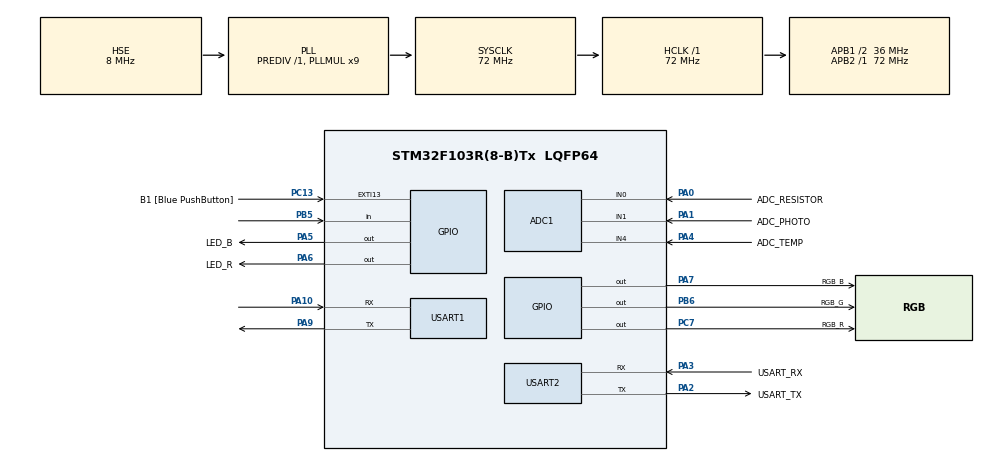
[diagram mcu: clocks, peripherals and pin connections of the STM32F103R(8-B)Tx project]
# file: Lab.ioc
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ADC1.Channel-1\#ChannelRegularConversion=ADC_CHANNEL_0
ADC1.Channel-2\#ChannelRegularConversion=ADC_CHANNEL_1
ADC1.Channel-3\#ChannelRegularConversion=ADC_CHANNEL_4
ADC1.ContinuousConvMode=DISABLE
ADC1.DataAlign=ADC_DATAALIGN_RIGHT
ADC1.NbrOfConversion=3
ADC1.NbrOfConversionFlag=1
ADC1.Rank-1\#ChannelRegularConversion=1
ADC1.Rank-2\#ChannelRegularConversion=2
ADC1.Rank-3\#ChannelRegularConversion=3
ADC1.SamplingTime-1\#ChannelRegularConversion=ADC_SAMPLETIME_1CYCLE_5
ADC1.SamplingTime-2\#ChannelRegularConversion=ADC_SAMPLETIME_1CYCLE_5
ADC1.SamplingTime-3\#ChannelRegularConversion=ADC_SAMPLETIME_1CYCLE_5
ADC1.master=1
Dma.ADC1.0.Direction=DMA_PERIPH_TO_MEMORY
Dma.ADC1.0.Instance=DMA1_Channel1
Dma.ADC1.0.MemDataAlignment=DMA_MDATAALIGN_HALFWORD
Dma.ADC1.0.MemInc=DMA_MINC_ENABLE
Dma.ADC1.0.Mode=DMA_NORMAL
Dma.ADC1.0.PeriphDataAlignment=DMA_PDATAALIGN_HALFWORD
Dma.ADC1.0.PeriphInc=DMA_PINC_DISABLE
Dma.ADC1.0.Priority=DMA_PRIORITY_LOW
Dma.Request0=ADC1
Mcu.Family=STM32F1
Mcu.Name=STM32F103R(8-B)Tx
Mcu.Package=LQFP64
NVIC.DMA1_Channel1_IRQn=true\:0\:0\:false\:false\:true\:false\:true\:true
NVIC.EXTI15_10_IRQn=true\:0\:0\:false\:false\:true\:true\:true\:true
NVIC.PriorityGroup=NVIC_PRIORITYGROUP_4
NVIC.USART2_IRQn=true\:0\:0\:false\:false\:true\:true\:true\:true
PA0-WKUP.GPIO_Label=ADC_RESISTOR
PA0-WKUP.Signal=ADCx_IN0
PA1.GPIO_Label=ADC_PHOTO
PA1.Signal=ADCx_IN1
PA10.Mode=Asynchronous
PA10.Signal=USART1_RX
PA13.GPIO_Label=TMS
PA13.Mode=Serial_Wire
PA13.Signal=SYS_JTMS-SWDIO
PA14.GPIO_Label=TCK
PA14.Mode=Serial_Wire
PA14.Signal=SYS_JTCK-SWCLK
PA2.GPIO_Label=USART_TX
PA2.GPIO_Mode=GPIO_MODE_AF_PP
PA2.GPIO_PuPd=GPIO_NOPULL
PA2.GPIO_Speed=GPIO_SPEED_FREQ_LOW
PA2.Mode=Asynchronous
PA2.Signal=USART2_TX
PA3.GPIO_Label=USART_RX
PA3.GPIO_Mode=GPIO_MODE_AF_PP
PA3.GPIO_PuPd=GPIO_NOPULL
PA3.GPIO_Speed=GPIO_SPEED_FREQ_LOW
PA3.Mode=Asynchronous
PA3.Signal=USART2_RX
PA4.GPIO_Label=ADC_TEMP
PA4.Signal=ADCx_IN4
PA5.GPIO_Label=LED_B
PA5.GPIO_ModeDefaultOutputPP=GPIO_MODE_OUTPUT_PP
PA5.GPIO_PuPd=GPIO_NOPULL
PA5.GPIO_Speed=GPIO_SPEED_FREQ_LOW
PA5.Signal=GPIO_Output
PA6.GPIO_Label=LED_R
PA6.Signal=GPIO_Output
PA7.GPIO_Label=RGB_B
PA7.Signal=GPIO_Output
PA9.Mode=Asynchronous
PA9.Signal=USART1_TX
PB3.GPIO_Label=SWO
PB3.Signal=SYS_JTDO-TRACESWO
PB5.Signal=GPIO_Input
PB6.GPIO_Label=RGB_G
PB6.Signal=GPIO_Output
PC13-TAMPER-RTC.GPIO_Label=B1 [Blue PushButton]
PC13-TAMPER-RTC.GPIO_PuPd=GPIO_NOPULL
PC13-TAMPER-RTC.Signal=GPXTI13
PC14-OSC32_IN.Mode=LSE-External-Oscillator
PC14-OSC32_IN.Signal=RCC_OSC32_IN
PC15-OSC32_OUT.Mode=LSE-External-Oscillator
PC15-OSC32_OUT.Signal=RCC_OSC32_OUT
PC7.GPIO_Label=RGB_R
PC7.Signal=GPIO_Output
PD0-OSC_IN.Mode=HSE-External-Clock-Source
PD0-OSC_IN.Signal=RCC_OSC_IN
PD1-OSC_OUT.Mode=HSE-External-Clock-Source
PD1-OSC_OUT.Signal=RCC_OSC_OUT
ProjectManager.HeapSize=0x200
ProjectManager.StackSize=0x400
ProjectManager.TargetToolchain=MDK-ARM V5.32
RCC.ADCPresc=RCC_ADCPCLK2_DIV6
RCC.AHBFreq_Value=72000000
RCC.APB1CLKDivider=RCC_HCLK_DIV2
RCC.APB1Freq_Value=36000000
RCC.APB1TimFreq_Value=72000000
RCC.APB2Freq_Value=72000000
RCC.APB2TimFreq_Value=72000000
RCC.HCLKFreq_Value=72000000
RCC.PLLMUL=RCC_PLL_MUL9
RCC.PLLSourceVirtual=RCC_PLLSOURCE_HSE
RCC.RTCClockSelection=RCC_RTCCLKSOURCE_LSE
RCC.SYSCLKFreq_VALUE=72000000
RCC.SYSCLKSource=RCC_SYSCLKSOURCE_PLLCLK
RCC.USBFreq_Value=72000000
SH.ADCx_IN0.0=ADC1_IN0,IN0
SH.ADCx_IN1.0=ADC1_IN1,IN1
SH.ADCx_IN4.0=ADC1_IN4,IN4
USART1.VirtualMode=VM_ASYNC
USART2.VirtualMode=VM_ASYNC
board=NUCLEO-F103RB

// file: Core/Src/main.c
/* USER CODE BEGIN Header */
/**
  ******************************************************************************
  * @file           : main.c
  * @brief          : Main program body
  ******************************************************************************
  * @attention
  *
  * Copyright (c) 2022 STMicroelectronics.
  * All rights reserved.
  *
  * This software is licensed under terms that can be found in the LICENSE file
  * in the root directory of this software component.
  * If no LICENSE file comes with this software, it is provided AS-IS.
  *
  ******************************************************************************
  */
/* USER CODE END Header */
#include "main.h"

/* USER CODE BEGIN Includes */
#include "string.h"
#include <stdio.h>

/* DHT11 Code Start */
#define DHT_TIMEOUT 				10000
#define DHT_POLLING_CONTROL			1
#define DHT_POLLING_INTERVAL_DHT11	2000
#define DHT_POLLING_INTERVAL_DHT22	1000
#define DHT_IRQ_CONTROL

typedef struct {
	float hum;
	float temp;
} DHT_data;

typedef enum {
	DHT11,
	DHT22
} DHT_type;

typedef struct {
	GPIO_TypeDef *DHT_Port;
	uint16_t DHTPin;
	DHT_type type;
	uint8_t pullUp;

	#if DHT_POLLING_CONTROL == 1
	uint32_t lastPollingTime;
	float lastTemp;
	float lastHum;
	#endif
} DHT_sensor;

DHT_data DHT_getData(DHT_sensor *sensor);

#define lineDown() 		HAL_GPIO_WritePin(sensor->DHT_Port, sensor->DHTPin, GPIO_PIN_RESET)
#define lineUp()		HAL_GPIO_WritePin(sensor->DHT_Port, sensor->DHTPin, GPIO_PIN_SET)
#define getLine()		(HAL_GPIO_ReadPin(sensor->DHT_Port, sensor->DHTPin) == GPIO_PIN_SET)
#define Delay(d)		HAL_Delay(d)

static void goToOutput(DHT_sensor *sensor) {
	GPIO_InitTypeDef GPIO_InitStruct = {0};

  lineUp();

  GPIO_InitStruct.Pin = sensor->DHTPin;
  GPIO_InitStruct.Mode = GPIO_MODE_OUTPUT_OD;
  GPIO_InitStruct.Pull = sensor->pullUp;

  GPIO_InitStruct.Speed = GPIO_SPEED_FREQ_HIGH;
  HAL_GPIO_Init(sensor->DHT_Port, &GPIO_InitStruct);
}

static void goToInput(DHT_sensor *sensor) {
  GPIO_InitTypeDef GPIO_InitStruct = {0};

  GPIO_InitStruct.Pin = sensor->DHTPin;
  GPIO_InitStruct.Mode = GPIO_MODE_INPUT;
  GPIO_InitStruct.Pull = sensor->pullUp;
  HAL_GPIO_Init(sensor->DHT_Port, &GPIO_InitStruct);
}

DHT_data DHT_getData(DHT_sensor *sensor) {
	DHT_data data = {-128.0f, -128.0f};

	#if DHT_POLLING_CONTROL == 1
	uint16_t pollingInterval;
	if (sensor->type == DHT11) {
		pollingInterval = DHT_POLLING_INTERVAL_DHT11;
	} else {
		pollingInterval = DHT_POLLING_INTERVAL_DHT22;
	}

	if ((HAL_GetTick() - sensor->lastPollingTime < pollingInterval) && sensor->lastPollingTime != 0) {
		data.hum = sensor->lastHum;
		data.temp = sensor->lastTemp;
		return data;
	}
	sensor->lastPollingTime = HAL_GetTick()+1;
	#endif

	goToOutput(sensor);
	lineDown();
	Delay(18);
	lineUp();
	goToInput(sensor);

	#ifdef DHT_IRQ_CONTROL
	__disable_irq();
	#endif
	uint16_t timeout = 0;
	while(getLine()) {
		timeout++;
		if (timeout > DHT_TIMEOUT) {
			#ifdef DHT_IRQ_CONTROL
			__enable_irq();
			#endif
			sensor->lastHum = -128.0f;
			sensor->lastTemp = -128.0f;

			return data;
		}
	}
	timeout = 0;
	while(!getLine()) {
		timeout++;
		if (timeout > DHT_TIMEOUT) {
			#ifdef DHT_IRQ_CONTROL
			__enable_irq();
			#endif
			sensor->lastHum = -128.0f;
			sensor->lastTemp = -128.0f;

			return data;
		}
	}
	timeout = 0;
	while(getLine()) {
		timeout++;
		if (timeout > DHT_TIMEOUT) {
			#ifdef DHT_IRQ_CONTROL
			__enable_irq();
			#endif
			return data;
		}
	}

	uint8_t rawData[5] = {0,0,0,0,0};
	for(uint8_t a = 0; a < 5; a++) {
		for(uint8_t b = 7; b != 255; b--) {
			uint16_t hT = 0, lT = 0;
			while(!getLine() && lT != 65535) lT++;
			timeout = 0;
			while(getLine()&& hT != 65535) hT++;
			if(hT > lT) rawData[a] |= (1<<b);
		}
	}

    #ifdef DHT_IRQ_CONTROL
	__enable_irq();
    #endif

	if((uint8_t)(rawData[0] + rawData[1] + rawData[2] + rawData[3]) == rawData[4]) {
		if (sensor->type == DHT22) {
			data.hum = (float)(((uint16_t)rawData[0]<<8) | rawData[1])*0.1f;
			if(!(rawData[2] & (1<<7))) {
				data.temp = (float)(((uint16_t)rawData[2]<<8) | rawData[3])*0.1f;
			}	else {
				rawData[2] &= ~(1<<7);
				data.temp = (float)(((uint16_t)rawData[2]<<8) | rawData[3])*-0.1f;
			}
		}
		if (sensor->type == DHT11) {
			data.hum = (float)rawData[0];
			data.temp = (float)rawData[2];
		}
	}

	#if DHT_POLLING_CONTROL == 1
	sensor->lastHum = data.hum;
	sensor->lastTemp = data.temp;
	#endif

	return data;
}

/* DHT11 Code End */

/* USER CODE END Includes */

ADC_HandleTypeDef hadc1;
DMA_HandleTypeDef hdma_adc1;

UART_HandleTypeDef huart1;
UART_HandleTypeDef huart2;

/* USER CODE BEGIN PV */
char trans_str[64] = {0,};
volatile uint16_t adc[3] = {0,};
DHT_sensor dht_sensor = {GPIOB, GPIO_PIN_5, DHT11, GPIO_NOPULL};
char msg[30] = {0,};
uint8_t input_buffer[18] = {0,};
char command[16];
/* USER CODE END PV */

void SystemClock_Config(void);
static void MX_GPIO_Init(void);
static void MX_DMA_Init(void);
static void MX_USART2_UART_Init(void);
static void MX_ADC1_Init(void);
static void MX_USART1_UART_Init(void);

/* USER CODE BEGIN 0 */
void HAL_ADC_ConvCpltCallback(ADC_HandleTypeDef* hadc)
{
    if(hadc->Instance == ADC1)
    {
        HAL_ADC_Stop_DMA(&hadc1);
				//R L T T1 H
				snprintf(trans_str, 63, "D:%4d:%4d:%4d%s:D\n\r", (uint16_t)adc[0], (uint16_t)adc[1], (uint16_t)adc[2], msg);
        HAL_UART_Transmit_IT(&huart2, (uint8_t*)trans_str, strlen(trans_str));
        adc[0] = 0;
        adc[1] = 0;
				adc[2] = 0;
        HAL_ADC_Start_DMA(&hadc1, (uint32_t*)&adc, 3);
    }
}

void HAL_UART_RxCpltCallback(UART_HandleTypeDef *huart)
{
	if(huart == &huart2)
  {
		if (input_buffer[0] == '\n')
		{
			if (strcmp(command, "LED_R_ON") == 0)
			{
				HAL_GPIO_WritePin(LED_R_GPIO_Port, LED_R_Pin, GPIO_PIN_SET);
			}
			else if (strcmp(command, "LED_R_OFF") == 0)
			{
				HAL_GPIO_WritePin(LED_R_GPIO_Port, LED_R_Pin, GPIO_PIN_RESET);
			}
			else if (strcmp(command, "LED_B_ON") == 0)
			{
				HAL_GPIO_WritePin(LED_B_GPIO_Port, LED_B_Pin, GPIO_PIN_SET);
			}
			else if (strcmp(command, "LED_B_OFF") == 0)
			{
				HAL_GPIO_WritePin(LED_B_GPIO_Port, LED_B_Pin, GPIO_PIN_RESET);
			}
			else if (strcmp(command, "RGB_R_ON") == 0)
			{
				HAL_GPIO_WritePin(RGB_R_GPIO_Port, RGB_R_Pin, GPIO_PIN_SET);
			}
			else if (strcmp(command, "RGB_R_OFF") == 0)
			{
				HAL_GPIO_WritePin(RGB_R_GPIO_Port, RGB_R_Pin, GPIO_PIN_RESET);
			}
			else if (strcmp(command, "RGB_G_ON") == 0)
			{
				HAL_GPIO_WritePin(RGB_G_GPIO_Port, RGB_G_Pin, GPIO_PIN_SET);
			}
			else if (strcmp(command, "RGB_G_OFF") == 0)
			{
				HAL_GPIO_WritePin(RGB_G_GPIO_Port, RGB_G_Pin, GPIO_PIN_RESET);
			}
			else if (strcmp(command, "RGB_B_ON") == 0)
			{
				HAL_GPIO_WritePin(RGB_B_GPIO_Port, RGB_B_Pin, GPIO_PIN_SET);
			}
			else if (strcmp(command, "RGB_B_OFF") == 0)
			{
				HAL_GPIO_WritePin(RGB_B_GPIO_Port, RGB_B_Pin, GPIO_PIN_RESET);
			}
			memset(command, 0, sizeof(command));
		}
		else
		{
			strncat(command, (char *)input_buffer, 1);
		}

		if (strlen(command) > 10) {
			memset(command, 0, sizeof(command));
		}

		HAL_UART_Receive_IT(&huart2, (uint8_t*)input_buffer, 1);
  }
}
/* USER CODE END 0 */

int main(void)
{

  /* MCU Configuration--------------------------------------------------------*/

  /* Reset of all peripherals, Initializes the Flash interface and the Systick. */
  HAL_Init();

  /* Configure the system clock */
  SystemClock_Config();

  /* Initialize all configured peripherals */
  MX_GPIO_Init();
  MX_DMA_Init();
  MX_USART2_UART_Init();
  MX_ADC1_Init();
  MX_USART1_UART_Init();
  /* USER CODE BEGIN 2 */
	HAL_GPIO_WritePin(RGB_R_GPIO_Port, RGB_R_Pin, GPIO_PIN_RESET);
	HAL_GPIO_WritePin(RGB_G_GPIO_Port, RGB_G_Pin, GPIO_PIN_RESET);
	HAL_GPIO_WritePin(RGB_B_GPIO_Port, RGB_B_Pin, GPIO_PIN_RESET);
	HAL_GPIO_WritePin(LED_R_GPIO_Port, LED_R_Pin, GPIO_PIN_RESET);
	HAL_GPIO_WritePin(LED_B_GPIO_Port, LED_B_Pin, GPIO_PIN_RESET);
	HAL_ADCEx_Calibration_Start(&hadc1);
	HAL_ADC_Start_DMA(&hadc1, (uint32_t*)&adc, 2);
	HAL_UART_Receive_IT(&huart2, (uint8_t*)input_buffer, 1);
  /* USER CODE END 2 */

  /* Infinite loop */
  while (1)
  {
		HAL_ADC_Stop_DMA(&hadc1);
		DHT_data d = DHT_getData(&dht_sensor);
    sprintf(msg, ":%3d:%3d", (uint8_t)d.temp, (uint8_t)d.hum);
		HAL_ADC_Start_DMA(&hadc1, (uint32_t*)&adc, 3);
		HAL_Delay(5);
  }
}

void SystemClock_Config(void)
{
  RCC_OscInitTypeDef RCC_OscInitStruct = {0};
  RCC_ClkInitTypeDef RCC_ClkInitStruct = {0};
  RCC_PeriphCLKInitTypeDef PeriphClkInit = {0};

  /** Initializes the RCC Oscillators according to the specified parameters
  * in the RCC_OscInitTypeDef structure.
  */
  RCC_OscInitStruct.OscillatorType = RCC_OSCILLATORTYPE_HSE;
  RCC_OscInitStruct.HSEState = RCC_HSE_BYPASS;
  RCC_OscInitStruct.HSEPredivValue = RCC_HSE_PREDIV_DIV1;
  RCC_OscInitStruct.HSIState = RCC_HSI_ON;
  RCC_OscInitStruct.PLL.PLLState = RCC_PLL_ON;
  RCC_OscInitStruct.PLL.PLLSource = RCC_PLLSOURCE_HSE;
  RCC_OscInitStruct.PLL.PLLMUL = RCC_PLL_MUL9;
  if (HAL_RCC_OscConfig(&RCC_OscInitStruct) != HAL_OK)
  {
    Error_Handler();
  }

  /** Initializes the CPU, AHB and APB buses clocks
  */
  RCC_ClkInitStruct.ClockType = RCC_CLOCKTYPE_HCLK|RCC_CLOCKTYPE_SYSCLK
                              |RCC_CLOCKTYPE_PCLK1|RCC_CLOCKTYPE_PCLK2;
  RCC_ClkInitStruct.SYSCLKSource = RCC_SYSCLKSOURCE_PLLCLK;
  RCC_ClkInitStruct.AHBCLKDivider = RCC_SYSCLK_DIV1;
  RCC_ClkInitStruct.APB1CLKDivider = RCC_HCLK_DIV2;
  RCC_ClkInitStruct.APB2CLKDivider = RCC_HCLK_DIV1;

  if (HAL_RCC_ClockConfig(&RCC_ClkInitStruct, FLASH_LATENCY_2) != HAL_OK)
  {
    Error_Handler();
  }
  PeriphClkInit.PeriphClockSelection = RCC_PERIPHCLK_ADC;
  PeriphClkInit.AdcClockSelection = RCC_ADCPCLK2_DIV6;
  if (HAL_RCCEx_PeriphCLKConfig(&PeriphClkInit) != HAL_OK)
  {
    Error_Handler();
  }
}

static void MX_ADC1_Init(void)
{

  ADC_ChannelConfTypeDef sConfig = {0};

  /** Common config
  */
  hadc1.Instance = ADC1;
  hadc1.Init.ScanConvMode = ADC_SCAN_ENABLE;
  hadc1.Init.ContinuousConvMode = DISABLE;
  hadc1.Init.DiscontinuousConvMode = DISABLE;
  hadc1.Init.ExternalTrigConv = ADC_SOFTWARE_START;
  hadc1.Init.DataAlign = ADC_DATAALIGN_RIGHT;
  hadc1.Init.NbrOfConversion = 3;
  if (HAL_ADC_Init(&hadc1) != HAL_OK)
  {
    Error_Handler();
  }

  /** Configure Regular Channel
  */
  sConfig.Channel = ADC_CHANNEL_0;
  sConfig.Rank = ADC_REGULAR_RANK_1;
  sConfig.SamplingTime = ADC_SAMPLETIME_1CYCLE_5;
  if (HAL_ADC_ConfigChannel(&hadc1, &sConfig) != HAL_OK)
  {
    Error_Handler();
  }

  /** Configure Regular Channel
  */
  sConfig.Channel = ADC_CHANNEL_1;
  sConfig.Rank = ADC_REGULAR_RANK_2;
  if (HAL_ADC_ConfigChannel(&hadc1, &sConfig) != HAL_OK)
  {
    Error_Handler();
  }

  /** Configure Regular Channel
  */
  sConfig.Channel = ADC_CHANNEL_4;
  sConfig.Rank = ADC_REGULAR_RANK_3;
  if (HAL_ADC_ConfigChannel(&hadc1, &sConfig) != HAL_OK)
  {
    Error_Handler();
  }

}

static void MX_USART1_UART_Init(void)
{

  huart1.Instance = USART1;
  huart1.Init.BaudRate = 115200;
  huart1.Init.WordLength = UART_WORDLENGTH_8B;
  huart1.Init.StopBits = UART_STOPBITS_1;
  huart1.Init.Parity = UART_PARITY_NONE;
  huart1.Init.Mode = UART_MODE_TX_RX;
  huart1.Init.HwFlowCtl = UART_HWCONTROL_NONE;
  huart1.Init.OverSampling = UART_OVERSAMPLING_16;
  if (HAL_UART_Init(&huart1) != HAL_OK)
  {
    Error_Handler();
  }

}

static void MX_USART2_UART_Init(void)
{

  huart2.Instance = USART2;
  huart2.Init.BaudRate = 115200;
  huart2.Init.WordLength = UART_WORDLENGTH_8B;
  huart2.Init.StopBits = UART_STOPBITS_1;
  huart2.Init.Parity = UART_PARITY_NONE;
  huart2.Init.Mode = UART_MODE_TX_RX;
  huart2.Init.HwFlowCtl = UART_HWCONTROL_NONE;
  huart2.Init.OverSampling = UART_OVERSAMPLING_16;
  if (HAL_UART_Init(&huart2) != HAL_OK)
  {
    Error_Handler();
  }

}

static void MX_DMA_Init(void)
{

  /* DMA controller clock enable */
  __HAL_RCC_DMA1_CLK_ENABLE();

  /* DMA interrupt init */
  /* DMA1_Channel1_IRQn interrupt configuration */
  HAL_NVIC_SetPriority(DMA1_Channel1_IRQn, 0, 0);
  HAL_NVIC_EnableIRQ(DMA1_Channel1_IRQn);

}

static void MX_GPIO_Init(void)
{
  GPIO_InitTypeDef GPIO_InitStruct = {0};

  /* GPIO Ports Clock Enable */
  __HAL_RCC_GPIOC_CLK_ENABLE();
  __HAL_RCC_GPIOD_CLK_ENABLE();
  __HAL_RCC_GPIOA_CLK_ENABLE();
  __HAL_RCC_GPIOB_CLK_ENABLE();

  /*Configure GPIO pin Output Level */
  HAL_GPIO_WritePin(GPIOA, LED_B_Pin|LED_R_Pin|RGB_B_Pin, GPIO_PIN_RESET);

  /*Configure GPIO pin Output Level */
  HAL_GPIO_WritePin(RGB_R_GPIO_Port, RGB_R_Pin, GPIO_PIN_RESET);

  /*Configure GPIO pin Output Level */
  HAL_GPIO_WritePin(RGB_G_GPIO_Port, RGB_G_Pin, GPIO_PIN_RESET);

  /*Configure GPIO pin : B1_Pin */
  GPIO_InitStruct.Pin = B1_Pin;
  GPIO_InitStruct.Mode = GPIO_MODE_IT_RISING;
  GPIO_InitStruct.Pull = GPIO_NOPULL;
  HAL_GPIO_Init(B1_GPIO_Port, &GPIO_InitStruct);

  /*Configure GPIO pins : LED_B_Pin LED_R_Pin RGB_B_Pin */
  GPIO_InitStruct.Pin = LED_B_Pin|LED_R_Pin|RGB_B_Pin;
  GPIO_InitStruct.Mode = GPIO_MODE_OUTPUT_PP;
  GPIO_InitStruct.Pull = GPIO_NOPULL;
  GPIO_InitStruct.Speed = GPIO_SPEED_FREQ_LOW;
  HAL_GPIO_Init(GPIOA, &GPIO_InitStruct);

  /*Configure GPIO pin : RGB_R_Pin */
  GPIO_InitStruct.Pin = RGB_R_Pin;
  GPIO_InitStruct.Mode = GPIO_MODE_OUTPUT_PP;
  GPIO_InitStruct.Pull = GPIO_NOPULL;
  GPIO_InitStruct.Speed = GPIO_SPEED_FREQ_LOW;
  HAL_GPIO_Init(RGB_R_GPIO_Port, &GPIO_InitStruct);

  /*Configure GPIO pin : PB5 */
  GPIO_InitStruct.Pin = GPIO_PIN_5;
  GPIO_InitStruct.Mode = GPIO_MODE_INPUT;
  GPIO_InitStruct.Pull = GPIO_NOPULL;
  HAL_GPIO_Init(GPIOB, &GPIO_InitStruct);

  /*Configure GPIO pin : RGB_G_Pin */
  GPIO_InitStruct.Pin = RGB_G_Pin;
  GPIO_InitStruct.Mode = GPIO_MODE_OUTPUT_PP;
  GPIO_InitStruct.Pull = GPIO_NOPULL;
  GPIO_InitStruct.Speed = GPIO_SPEED_FREQ_LOW;
  HAL_GPIO_Init(RGB_G_GPIO_Port, &GPIO_InitStruct);

  /* EXTI interrupt init*/
  HAL_NVIC_SetPriority(EXTI15_10_IRQn, 0, 0);
  HAL_NVIC_EnableIRQ(EXTI15_10_IRQn);

}

void Error_Handler(void)
{
  __disable_irq();
  while (1)
  {
  }
}
